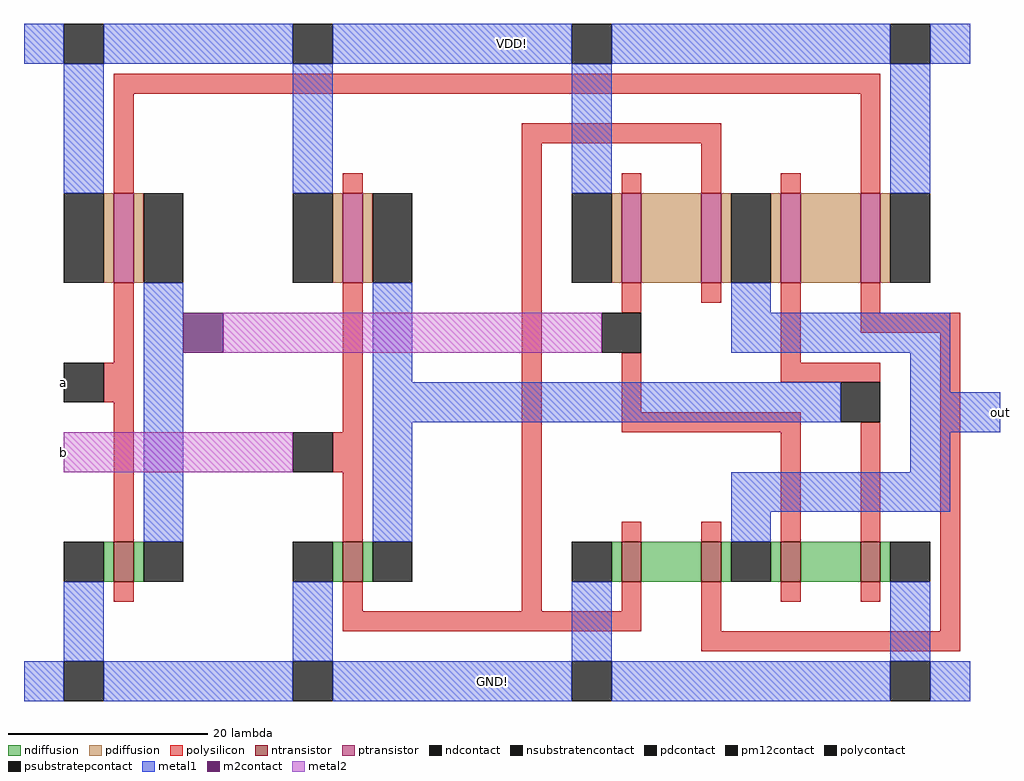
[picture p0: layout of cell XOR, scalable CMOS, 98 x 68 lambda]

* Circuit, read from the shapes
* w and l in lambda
.subckt XOR GND! VDD! a b out
M1 n1 a GND! GND! nfet w=4 l=2
M2 n2 b GND! GND! nfet w=4 l=2
M3 n3 b GND! GND! nfet w=4 l=2
M4 out a n3 GND! nfet w=4 l=2
M5 n4 n1 out GND! nfet w=4 l=2
M6 GND! n2 n4 GND! nfet w=4 l=2
M7 n1 a VDD! VDD! pfet w=9 l=2
M8 n2 b VDD! VDD! pfet w=9 l=2
M9 n5 n1 VDD! VDD! pfet w=9 l=2
M10 out b n5 VDD! pfet w=9 l=2
M11 n6 n2 out VDD! pfet w=9 l=2
M12 VDD! a n6 VDD! pfet w=9 l=2
.ends

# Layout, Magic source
magic
tech scmos
<< ntransistor >>
rect -60 2 -58 6
rect -37 2 -35 6
rect -9 2 -7 6
rect -1 2 1 6
rect 7 2 9 6
rect 15 2 17 6
<< ptransistor >>
rect -60 32 -58 41
rect -37 32 -35 41
rect -9 32 -7 41
rect -1 32 1 41
rect 7 32 9 41
rect 15 32 17 41
<< ndiffusion >>
rect -61 2 -60 6
rect -58 2 -57 6
rect -38 2 -37 6
rect -35 2 -34 6
rect -10 2 -9 6
rect -7 2 -1 6
rect 1 2 2 6
rect 6 2 7 6
rect 9 2 15 6
rect 17 2 18 6
<< pdiffusion >>
rect -61 32 -60 41
rect -58 32 -57 41
rect -38 32 -37 41
rect -35 32 -34 41
rect -10 32 -9 41
rect -7 32 -1 41
rect 1 32 2 41
rect 6 32 7 41
rect 9 32 15 41
rect 17 32 18 41
<< ndcontact >>
rect -65 2 -61 6
rect -57 2 -53 6
rect -42 2 -38 6
rect -34 2 -30 6
rect -14 2 -10 6
rect 2 2 6 6
rect 18 2 22 6
<< pdcontact >>
rect -65 32 -61 41
rect -57 32 -53 41
rect -42 32 -38 41
rect -34 32 -30 41
rect -14 32 -10 41
rect 2 32 6 41
rect 18 32 22 41
<< psubstratepcontact >>
rect -65 -10 -61 -6
rect -42 -10 -38 -6
rect -14 -10 -10 -6
rect 18 -10 22 -6
<< nsubstratencontact >>
rect -65 54 -61 58
rect -42 54 -38 58
rect -14 54 -10 58
rect 18 54 22 58
<< polysilicon >>
rect -60 51 17 53
rect -60 41 -58 51
rect -19 46 1 48
rect -37 41 -35 43
rect -60 24 -58 32
rect -61 20 -58 24
rect -60 6 -58 20
rect -37 17 -35 32
rect -38 13 -35 17
rect -37 6 -35 13
rect -60 0 -58 2
rect -37 -1 -35 2
rect -19 -1 -17 46
rect -9 41 -7 43
rect -1 41 1 46
rect 7 41 9 43
rect 15 41 17 51
rect -9 29 -7 32
rect -1 30 1 32
rect -9 19 -7 25
rect 7 24 9 32
rect 15 29 17 32
rect 15 27 25 29
rect 7 22 17 24
rect -9 17 9 19
rect -9 6 -7 8
rect -1 6 1 8
rect 7 6 9 17
rect 15 6 17 18
rect -9 -1 -7 2
rect -37 -3 -7 -1
rect -1 -3 1 2
rect 7 0 9 2
rect 15 0 17 2
rect 23 -3 25 27
rect -1 -5 25 -3
<< polycontact >>
rect -65 20 -61 24
rect 13 18 17 22
<< metal1 >>
rect -69 54 -65 58
rect -61 54 -42 58
rect -38 54 -14 58
rect -10 54 18 58
rect 22 54 26 58
rect -65 41 -61 54
rect -42 41 -38 54
rect -14 41 -10 54
rect 18 41 22 54
rect -57 6 -53 32
rect -34 22 -30 32
rect 2 29 6 32
rect 2 25 24 29
rect -34 18 13 22
rect 20 21 24 25
rect -34 6 -30 18
rect 20 17 29 21
rect 20 13 24 17
rect 2 9 24 13
rect 2 6 6 9
rect -65 -6 -61 2
rect -42 -6 -38 2
rect -14 -6 -10 2
rect 18 -6 22 2
rect -69 -10 -65 -6
rect -61 -10 -42 -6
rect -38 -10 -14 -6
rect -10 -10 18 -6
rect 22 -10 26 -6
<< m2contact >>
rect -53 25 -49 29
<< pm12contact >>
rect -11 25 -7 29
rect -42 13 -38 17
<< metal2 >>
rect -49 25 -11 29
rect -65 13 -42 17
<< labels >>
rlabel polycontact -65 20 -65 24 3 a
rlabel metal2 -65 13 -65 17 3 b
rlabel metal1 29 17 29 21 7 out
rlabel metal1 -20 56 -20 56 5 VDD!
rlabel metal1 -22 -8 -22 -8 1 GND!
<< end >>
